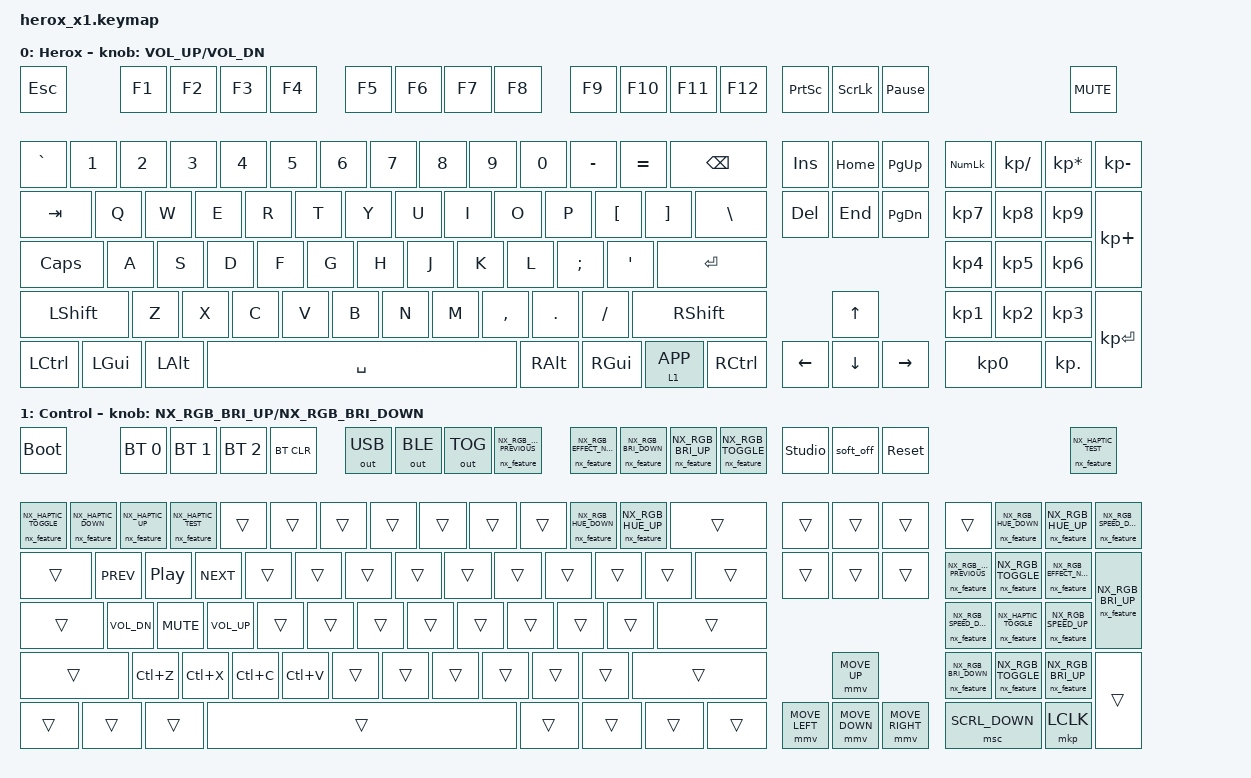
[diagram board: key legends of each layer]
#include <behaviors.dtsi>
#include <dt-bindings/herox/feature.h>
#include <dt-bindings/zmk/bt.h>
#include <dt-bindings/zmk/keys.h>
#include <dt-bindings/zmk/outputs.h>
#include <dt-bindings/zmk/pointing.h>

/ {
    behaviors {
        nx_encoder_feature: nx_encoder_feature {
            compatible = "zmk,behavior-sensor-rotate-var";
            #sensor-binding-cells = <2>;
            bindings = <&nx_feature>, <&nx_feature>;
        };
    };

    keymap {
        compatible = "zmk,keymap";

        base_layer {
            display-name = "Herox";
            bindings = <
                &kp ESC &kp F1 &kp F2 &kp F3 &kp F4 &kp F5 &kp F6 &kp F7 &kp F8 &kp F9 &kp F10 &kp F11 &kp F12 &kp PSCRN &kp SLCK &kp PAUSE_BREAK
                &kp GRAVE &kp N1 &kp N2 &kp N3 &kp N4 &kp N5 &kp N6 &kp N7 &kp N8 &kp N9 &kp N0 &kp MINUS &kp EQUAL &kp BSPC &kp INS &kp HOME &kp PG_UP &kp KP_NUM &kp KP_DIVIDE &kp KP_MULTIPLY &kp KP_MINUS
                &kp TAB &kp Q &kp W &kp E &kp R &kp T &kp Y &kp U &kp I &kp O &kp P &kp LBKT &kp RBKT &kp BSLH &kp DEL &kp END &kp PG_DN &kp KP_N7 &kp KP_N8 &kp KP_N9 &kp KP_PLUS
                &kp CAPS &kp A &kp S &kp D &kp F &kp G &kp H &kp J &kp K &kp L &kp SEMI &kp SQT &kp RET &kp KP_N4 &kp KP_N5 &kp KP_N6
                &kp LSHFT &kp Z &kp X &kp C &kp V &kp B &kp N &kp M &kp COMMA &kp DOT &kp FSLH &kp RSHFT &kp UP &kp KP_N1 &kp KP_N2 &kp KP_N3 &kp KP_ENTER
                &kp LCTRL &kp LGUI &kp LALT &kp SPACE &kp RALT &kp RGUI &lt 1 K_APP &kp RCTRL &kp LEFT &kp DOWN &kp RIGHT &kp KP_N0 &kp KP_DOT
                &kp C_MUTE
            >;
            sensor-bindings = <&inc_dec_kp C_VOL_UP C_VOL_DN>;
        };

        function_layer {
            display-name = "Control";
            bindings = <
                &bootloader &bt BT_SEL 0 &bt BT_SEL 1 &bt BT_SEL 2 &bt BT_CLR &out OUT_USB &out OUT_BLE &out OUT_TOG &nx_feature NX_RGB_EFFECT_PREVIOUS &nx_feature NX_RGB_EFFECT_NEXT &nx_feature NX_RGB_BRIGHTNESS_DOWN &nx_feature NX_RGB_BRIGHTNESS_UP &nx_feature NX_RGB_TOGGLE &studio_unlock &soft_off &sys_reset
                &nx_feature NX_HAPTIC_TOGGLE &nx_feature NX_HAPTIC_DOWN &nx_feature NX_HAPTIC_UP &nx_feature NX_HAPTIC_TEST &trans &trans &trans &trans &trans &trans &trans &nx_feature NX_RGB_HUE_DOWN &nx_feature NX_RGB_HUE_UP &trans &trans &trans &trans &trans &nx_feature NX_RGB_HUE_DOWN &nx_feature NX_RGB_HUE_UP &nx_feature NX_RGB_SPEED_DOWN
                &trans &kp C_PREV &kp C_PP &kp C_NEXT &trans &trans &trans &trans &trans &trans &trans &trans &trans &trans &trans &trans &trans &nx_feature NX_RGB_EFFECT_PREVIOUS &nx_feature NX_RGB_TOGGLE &nx_feature NX_RGB_EFFECT_NEXT &nx_feature NX_RGB_BRIGHTNESS_UP
                &trans &kp C_VOL_DN &kp C_MUTE &kp C_VOL_UP &trans &trans &trans &trans &trans &trans &trans &trans &trans &nx_feature NX_RGB_SPEED_DOWN &nx_feature NX_HAPTIC_TOGGLE &nx_feature NX_RGB_SPEED_UP
                &trans &kp LC(Z) &kp LC(X) &kp LC(C) &kp LC(V) &trans &trans &trans &trans &trans &trans &trans &mmv MOVE_UP &nx_feature NX_RGB_BRIGHTNESS_DOWN &nx_feature NX_RGB_TOGGLE &nx_feature NX_RGB_BRIGHTNESS_UP &trans
                &trans &trans &trans &trans &trans &trans &trans &trans &mmv MOVE_LEFT &mmv MOVE_DOWN &mmv MOVE_RIGHT &msc SCRL_DOWN &mkp LCLK
                &nx_feature NX_HAPTIC_TEST
            >;
            sensor-bindings = <&nx_encoder_feature NX_RGB_BRIGHTNESS_UP NX_RGB_BRIGHTNESS_DOWN>;
        };

        studio_layer_1 {
            status = "reserved";
        };

        studio_layer_2 {
            status = "reserved";
        };

        studio_layer_3 {
            status = "reserved";
        };
    };
};
